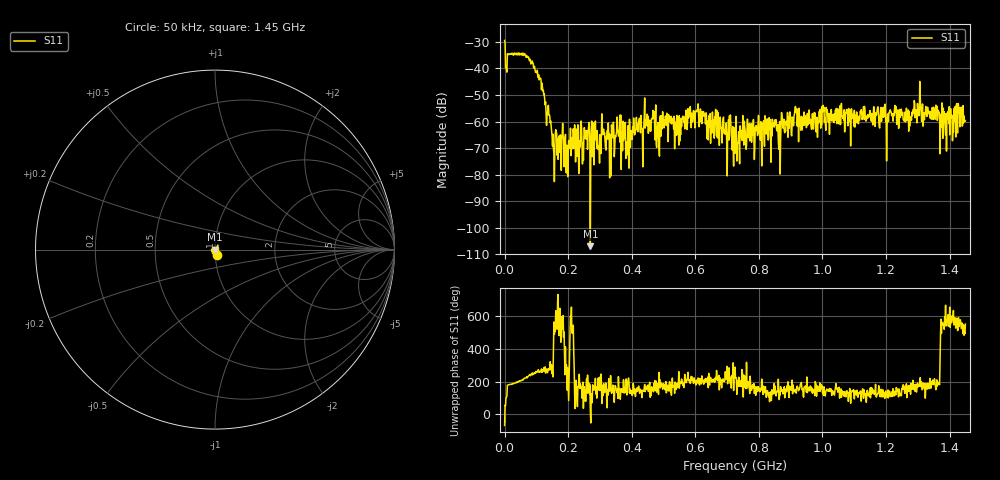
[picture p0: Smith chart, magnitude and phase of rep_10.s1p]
! Created with skrf 1.11.0 (http://scikit-rf.org).
# Hz S RI R 50.0
!freq ReS11 ImS11
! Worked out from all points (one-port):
!   1001 points, 50 kHz to 1.45 GHz, reference 50 ohm
!   lowest |S11| = -107.0 dB at 269.7 MHz (marker M1), VSWR 1.00, Z = 50 + j0.0002 ohm
!   |S11| at or under -10 dB: start of sweep to end of sweep
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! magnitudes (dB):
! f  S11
! 50 kHz  -29.4
! 87.05 MHz  -37.2
! 117.5 MHz  -45.5
! 150.8 MHz  -69.2
! 181.3 MHz  -64.8
! 194.3 MHz  -79.4
! 214.6 MHz  -70.3
! 269.7 MHz  -107.0
! 297.3 MHz  -69.1
! 307.4 MHz  -62.0
! 362.5 MHz  -57.6
! 388.6 MHz  -61.6
! 400.2 MHz  -63.5
! 443.7 MHz  -59.6
! 468.4 MHz  -58.5
! 484.3 MHz  -64.2
! 500.3 MHz  -60.6
! 543.8 MHz  -64.9
! 601.8 MHz  -56.4
! 725 MHz  -72.0
! 846.8 MHz  -60.6
! 862.8 MHz  -70.4
! 906.3 MHz  -58.3
! 1.088 GHz  -55.5
! 1.269 GHz  -58.1
! 1.302 GHz  -57.8
! 1.385 GHz  -59.3
! 1.45 GHz  -59.8
